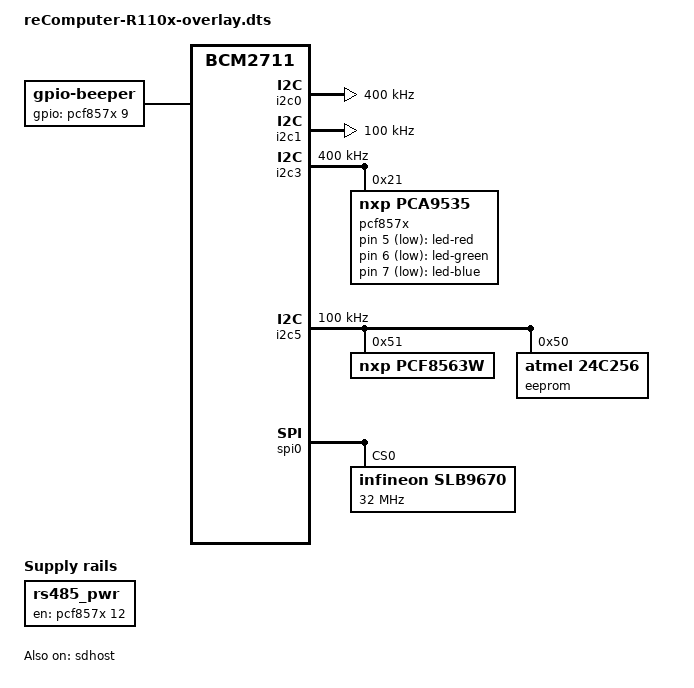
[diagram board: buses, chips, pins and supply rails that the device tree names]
/*
 * Copyright (C) 2021 Seeed Studio
 * ruiqian <ruiqian.tang@seeed.cc>
 *
 * MIT License
 *
 */
 /dts-v1/;
 /plugin/;

 #include "dt-bindings/gpio/gpio.h"

 / {
	compatible = "brcm,bcm2835", "brcm,bcm2708", "brcm,bcm2709", "brcm,bcm2711";

	fragment@0 {
        target-path="/";
        __overlay__ {
            hardware = "reComputer-R110x V1.0";
        };
    };

	fragment@1 {
		target = <&i2c0>;
		__overlay__ {
			status = "okay";
			clock-frequency = <400000>;
			#address-cells = <1>;
			#size-cells = <0>;
		};
	};

	fragment@2 {
		target = <&i2c1>;
		__overlay__ {
			status = "okay";
			clock-frequency = <100000>;
			#address-cells = <1>;
			#size-cells = <0>;
		};
	};
		
	fragment@3 {
		target = <&i2c3>;
		__overlay__ {
			status = "okay";
			clock-frequency = <400000>;
			#address-cells = <1>;
			#size-cells = <0>;

			pcf857x: pcf@21 {
				compatible = "nxp,pca9535";
				reg = <0x21>;
				status = "okay";

				gpio-controller;
				#gpio-cells = <2>;

				gpio-line-names =
					"LoRaWAN_SX1262_CS"	 	,"LoRaWAN_SX1262_RST",
					"LoRaWAN_SX1302_RST"	,"LTE_RESET",
					"TPM_RST"				,"USR_LED_R",
					"USR_LED_G"				,"USR_LED_B",
					"EEPROM_WP"		        ,"Buzzer_EN",
					"gpio_pin12"		    ,"gpio_pin13",
					"RS485_POWER_EN"		,"CH344_RST",
					"SD_DET"				,"gpio_pin15";

				LoRaWAN_SX1262_CS {
					gpios = <&pcf857x 0 GPIO_ACTIVE_HIGH>;
					output-low;
					line-name = "LoRaWAN_SX1262_CS";
				};

				LoRaWAN_SX1262_RST {
					gpios = <&pcf857x 1 GPIO_ACTIVE_HIGH>;
					output-low;
					line-name = "LoRaWAN_SX1262_RST";
				};

				LoRaWAN_SX1302_RST {
					gpios = <&pcf857x 2 GPIO_ACTIVE_HIGH>;
					output-low;
					line-name = "LoRaWAN_SX1302_RST";
				};

				LTE_RESET {
					gpios = <&pcf857x 3 GPIO_ACTIVE_HIGH>;
					output-high;
					line-name = "LTE_RESET";
				};

				TPM_RST {
					gpios = <&pcf857x 4 GPIO_ACTIVE_HIGH>;
					output-high;
					line-name = "TPM_RST";
				};

				USR_LED_R {
					gpios = <&pcf857x 5 GPIO_ACTIVE_HIGH>;
					output-high;
					line-name = "USR_LED_R";
				};

				USR_LED_G {
					gpios = <&pcf857x 6 GPIO_ACTIVE_HIGH>;
					output-high;
					line-name = "USR_LED_G";
				};

				USR_LED_B {
					gpios = <&pcf857x 7 GPIO_ACTIVE_HIGH>;
					output-high;
					line-name = "USR_LED_B";
				};

				EEPROM_WP {
					gpios = <&pcf857x 8 GPIO_ACTIVE_HIGH>;
					output-high;
					line-name = "EEPROM_WP";
				};

				Buzzer_EN {
					gpios = <&pcf857x 9 GPIO_ACTIVE_HIGH>;
					output-low;
					line-name = "Buzzer_EN";
				};

				RS485_POWER_EN {
					gpios = <&pcf857x 12 GPIO_ACTIVE_HIGH>;
					output-high;
					line-name = "RS485_POWER_EN";
				};

				CH344_RST {
					gpios = <&pcf857x 13 GPIO_ACTIVE_HIGH>;
					output-high;
					line-name = "CH344_RST";
				};

				SD_DET {
					gpios = <&pcf857x 14 GPIO_ACTIVE_HIGH>;
					line-name = "SD_DET";
				};
			};
		};
	};

	fragment@4 {
		target = <&i2c5>;
		__overlay__ {
			status = "okay";
			clock-frequency = <100000>;
			#address-cells = <1>;
			#size-cells = <0>;
			
			pcf8563w@51 {
				compatible = "nxp,pcf8563w";
				reg = <0x51>;
				reset-source;
				/* 0 = 4096Hz, 1 = 64Hz, 2 = 1Hz, 3 = 1/60Hz */
				timer-frequency = <0x02>;
				/* Timeout count, max 255 min 2*/
				default-timeout =  <120>;
				min-hw-heartbeat-ms = <2000>;
			};

			eeprom@50 {
				compatible = "atmel,24c256";
				reg = <0x50>;
			};

		};
	};

	fragment@b {
		target = <&spi0>;
		__overlay__ {
			status = "okay";
		};
	};

	fragment@c {
		target = <&spidev0>;
		__overlay__ {
			status = "disabled";
		};
	};

	fragment@d {
		target = <&spi0>;
		__overlay__ {
			#address-cells = <1>;
			#size-cells = <0>;
			slb9670: slb9670@0 {
				compatible = "infineon,slb9670";
				reg = <0>;	/* CE0 */
				#address-cells = <1>;
				#size-cells = <0>;
				spi-max-frequency = <32000000>;
				status = "okay";
			};

		};
	};


	fragment@f {
		target = <&leds>;
		__overlay__ {
			compatible = "gpio-leds";

			led_red: led_red {
				label = "led-red";
				linux,default-trigger = "default-off";
				gpios = <&pcf857x 5 GPIO_ACTIVE_LOW>;
				default-state = "off";
			};
			
			led_green: led_green {
				label = "led-green";
				linux,default-trigger = "default-off";
				gpios = <&pcf857x 6 GPIO_ACTIVE_LOW>;
				default-state = "off";
			};

			led_blue: led_blue {
				label = "led-blue";
				linux,default-trigger = "default-off";
				gpios = <&pcf857x 7 GPIO_ACTIVE_LOW>;
				default-state = "off";
			};
		};
	};

	fragment@10 {
		target-path="/";
		__overlay__ {
			beeper: beeper {
				compatible = "gpio-beeper";
				gpios = <&pcf857x 9 GPIO_ACTIVE_HIGH>;
				status = "okay";
			};
		};
	};

	fragment@1a {
		target = <&sdhost>;
		frag0: __overlay__ {
			pinctrl-names = "default";
			pinctrl-0 = <&sdhost_pins>;
			bus-width = <4>;
			brcm,overclock-50 = <0>;
			brcm,pio-limit = <1>;
			status = "okay";
		};
	};

	fragment@1b {
		target = <&gpio>;
		__overlay__ {
				sdhost_pins: sdhost_pins {
				brcm,pins = <22 23 24 25 26 27>;
				brcm,function = <4 4 4 4 4 4>; /* ALT0: SD0 */
				brcm,pull = <0 2 2 2 2 2>; /* pull up all except clk */
			};
		};
	};

	fragment@1c {
		target-path="/";
		__overlay__ {
			rs485_pwr:rs485_pwr {
				compatible = "regulator-fixed";
				regulator-name = "rs485-pwr";
				gpio = <&pcf857x 12 GPIO_ACTIVE_HIGH>;
				enable-active-high;
				regulator-boot-on;
				regulator-always-on;
			};
		};
	};

	__overrides__ {
		overclock_50 = <&frag0>,"brcm,overclock-50:0";
		force_pio = <&frag0>,"brcm,force-pio?";
		pio_limit = <&frag0>,"brcm,pio-limit:0";
		debug = <&frag0>,"brcm,debug?";
	};

};	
